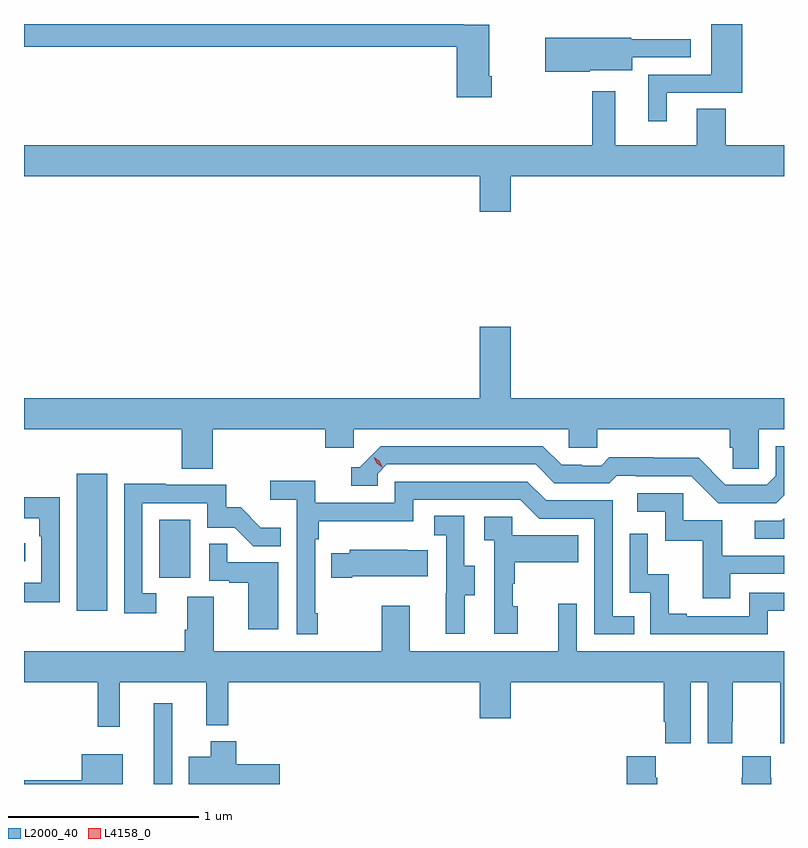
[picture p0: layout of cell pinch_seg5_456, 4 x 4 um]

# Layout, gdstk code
import gdstk
lib = gdstk.Library(unit=1e-6, precision=1e-09)
def R(c, l, rs):  # rectangles x0, y0, x1, y1
    for r in rs: c.add(gdstk.rectangle(r[:2], r[2:], *l))
def P(c, l, *ps):  # polygons
    for p in ps: c.add(gdstk.Polygon(p, *l))
L2000_40 = (2000, 40)
L4158_0 = (4158, 0)

pinch_seg5_456 = lib.new_cell('pinch_seg5_456')
R(pinch_seg5_456, L2000_40, [(906.548,864.217,906.645,864.643), (906.143,865.128,906.304,865.849), (906.578,865.302,906.742,865.609), (905.866,865.389,905.872,865.485)])
P(pinch_seg5_456, L2000_40, [(908.327,867.943),(908.314,867.943),(908.314,868.212),(908.18,868.212),(908.18,868.217),(905.866,868.217),(905.866,868.096),(908.144,868.096),(908.144,867.831),(908.327,867.831)],
  [(909.25,867.855),(909.646,867.855),(909.646,868.217),(909.482,868.217),(909.482,867.951),(909.152,867.951),(909.152,867.705),(909.25,867.705)],
  [(908.844,867.974),(909.067,867.974),(909.067,868.041),(909.376,868.041),(909.376,868.137),(909.063,868.137),(909.063,868.145),(908.61,868.145),(908.61,867.967),(908.844,867.967)],
  [(908.428,867.416),(909.866,867.416),(909.866,867.58),(909.56,867.58),(909.56,867.77),(909.407,867.77),(909.407,867.58),(908.977,867.58),(908.977,867.862),(908.856,867.862),(908.856,867.58),(905.866,867.58),(905.866,867.416),(908.264,867.416),(908.264,867.228),(908.428,867.228)],
  [(906.86,866.084),(907.451,866.084),(907.451,865.986),(907.602,865.986),(907.602,866.084),(908.733,866.084),(908.733,865.986),(908.883,865.986),(908.883,866.084),(909.581,866.084),(909.581,865.986),(909.595,865.986),(909.595,865.876),(909.732,865.876),(909.732,866.084),(909.866,866.084),(909.866,866.248),(908.428,866.248),(908.428,866.623),(908.264,866.623),(908.264,866.248),(905.866,866.248),(905.866,866.084),(906.695,866.084),(906.695,865.876),(906.86,865.876)],
  [(909.866,865.736),(909.866,865.995),(909.822,865.995),(909.822,865.839),(909.774,865.791),(909.558,865.791),(909.416,865.933),(909.18,865.933),(909.18,865.936),(908.947,865.936),(908.905,865.893),(908.802,865.893),(908.802,865.896),(908.695,865.896),(908.596,865.995),(907.743,865.995),(907.632,865.884),(907.589,865.884),(907.589,865.788),(907.728,865.788),(907.728,865.851),(907.776,865.899),(908.559,865.899),(908.658,865.8),(908.947,865.8),(908.986,865.839),(909.085,865.839),(909.085,865.836),(909.378,865.836),(909.519,865.695),(909.825,865.695)],
  [(907.411,865.117),(907.398,865.117),(907.398,865.505),(907.418,865.505),(907.418,865.601),(907.914,865.601),(907.914,865.713),(908.478,865.713),(908.577,865.614),(908.868,865.614),(908.868,865.005),(909.077,865.005),(909.077,865.101),(908.964,865.101),(908.964,865.71),(908.614,865.71),(908.515,865.809),(907.818,865.809),(907.818,865.698),(907.4,865.698),(907.4,865.814),(907.161,865.814),(907.161,865.712),(907.302,865.712),(907.302,865.005),(907.411,865.005)],
  [(906.562,865.221),(906.489,865.221),(906.489,865.695),(906.831,865.695),(906.831,865.566),(906.975,865.566),(907.073,865.468),(907.217,865.468),(907.217,865.567),(907.113,865.567),(907.006,865.674),(906.93,865.674),(906.93,865.791),(906.611,865.791),(906.611,865.796),(906.393,865.796),(906.393,865.116),(906.562,865.116)],
  [(909.583,865.323),(909.866,865.323),(909.866,865.419),(909.541,865.419),(909.541,865.605),(909.336,865.605),(909.336,865.746),(909.093,865.746),(909.093,865.65),(909.24,865.65),(909.24,865.497),(909.439,865.497),(909.439,865.194),(909.583,865.194)],
  [(906.054,865.726),(905.866,865.726),(905.866,865.616),(905.945,865.616),(905.945,865.52),(905.958,865.52),(905.958,865.275),(905.866,865.275),(905.866,865.174),(906.054,865.174)],
  [(908.185,865.21),(908.239,865.21),(908.239,865.365),(908.184,865.365),(908.184,865.628),(908.025,865.628),(908.025,865.525),(908.088,865.525),(908.088,865.221),(908.087,865.221),(908.087,865.008),(908.185,865.008)],
  [(908.464,865.152),(908.439,865.152),(908.439,865.271),(908.449,865.271),(908.449,865.385),(908.783,865.385),(908.783,865.525),(908.436,865.525),(908.436,865.623),(908.289,865.623),(908.289,865.499),(908.34,865.499),(908.34,865.008),(908.464,865.008)],
  [(909.866,865.616),(909.852,865.602),(909.711,865.602),(909.711,865.509),(909.866,865.509)],
  [(909.78,865.128),(909.866,865.128),(909.866,865.224),(909.684,865.224),(909.684,865.101),(909.355,865.101),(909.355,865.114),(909.26,865.114),(909.26,865.322),(909.15,865.322),(909.15,865.534),(909.054,865.534),(909.054,865.224),(909.162,865.224),(909.162,865.005),(909.78,865.005)],
  [(907.204,865.383),(906.935,865.383),(906.935,865.481),(906.84,865.481),(906.84,865.287),(906.947,865.287),(906.947,865.275),(907.046,865.275),(907.046,865.032),(907.204,865.032)],
  [(907.594,865.31),(907.991,865.31),(907.991,865.447),(907.883,865.447),(907.883,865.45),(907.581,865.45),(907.581,865.432),(907.483,865.432),(907.483,865.303),(907.594,865.303)],
  [(909.376,864.752),(909.464,864.752),(909.464,864.432),(909.594,864.432),(909.594,864.544),(909.595,864.544),(909.595,864.752),(909.845,864.752),(909.845,864.544),(909.846,864.544),(909.846,864.432),(909.866,864.432),(909.866,864.916),(908.775,864.916),(908.775,865.165),(908.678,865.165),(908.678,864.916),(907.897,864.916),(907.897,865.156),(907.75,865.156),(907.75,864.916),(906.865,864.916),(906.865,865.202),(906.725,865.202),(906.725,865.028),(906.713,865.028),(906.713,864.916),(905.866,864.916),(905.866,864.752),(906.253,864.752),(906.253,864.519),(906.371,864.519),(906.371,864.752),(906.824,864.752),(906.824,864.527),(906.941,864.527),(906.941,864.752),(908.264,864.752),(908.264,864.564),(908.428,864.564),(908.428,864.752),(909.233,864.752),(909.233,864.544),(909.242,864.544),(909.242,864.432),(909.376,864.432)],
  [(907.213,864.321),(906.983,864.321),(906.983,864.442),(906.848,864.442),(906.848,864.361),(906.734,864.361),(906.734,864.217),(907.213,864.217)],
  [(906.385,864.373),(906.17,864.373),(906.17,864.236),(905.866,864.236),(905.866,864.217),(906.385,864.217)],
  [(909.798,864.251),(909.795,864.251),(909.795,864.364),(909.645,864.364),(909.645,864.251),(909.643,864.251),(909.643,864.217),(909.798,864.217)],
  [(909.198,864.251),(909.191,864.251),(909.191,864.364),(909.038,864.364),(909.038,864.217),(909.198,864.217)])
P(pinch_seg5_456, L4158_0, [(907.752,865.885),(907.722,865.905),(907.706,865.938),(907.706,865.938),(907.706,865.938),(907.737,865.918),(907.752,865.886),(907.752,865.885)])

lib.write_gds('pinch_seg5_456.gds')
